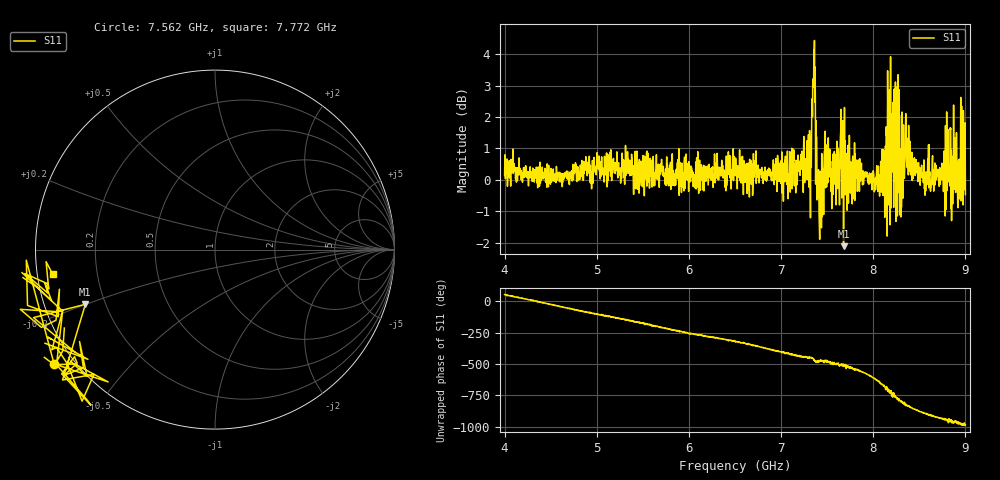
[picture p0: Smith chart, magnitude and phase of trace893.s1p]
! Created with skrf 1.8.0 (http://scikit-rf.org).
# Hz S RI R 50.0
!freq ReS11 ImS11
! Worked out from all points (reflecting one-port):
!   1601 points, 4 GHz to 9 GHz, reference 50 ohm
!   lowest |S11| = -2.1 dB at 7.678 GHz (marker M1), VSWR 8.25, Z = 6.3 - j9.96 ohm
!   phase of S11 starts at 53 deg and turns -1037 deg over the sweep
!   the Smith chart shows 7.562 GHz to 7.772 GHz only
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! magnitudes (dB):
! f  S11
! 4 GHz  0.1
! 4.625 GHz  -0.2
! 5.25 GHz  0.2
! 5.875 GHz  0.5
! 6.5 GHz  0.1
! 7.125 GHz  0.5
! 7.294 GHz  0.5
! 7.356 GHz  4.1
! 7.4 GHz  -0.1
! 7.412 GHz  -1.1
! 7.438 GHz  -1.5
! 7.491 GHz  0.5
! 7.572 GHz  0.8
! 7.65 GHz  2.2
! 7.678 GHz  -2.1
! 7.75 GHz  -0.3
! 8.069 GHz  -0.5
! 8.162 GHz  1.1
! 8.209 GHz  0.5
! 8.262 GHz  -1.2
! 8.316 GHz  0.5
! 8.334 GHz  0.2
! 8.375 GHz  1.0
! 8.556 GHz  -0.3
! 8.822 GHz  0.4
! 8.919 GHz  -0.9
! 8.972 GHz  0.9
! 9 GHz  -0.5
